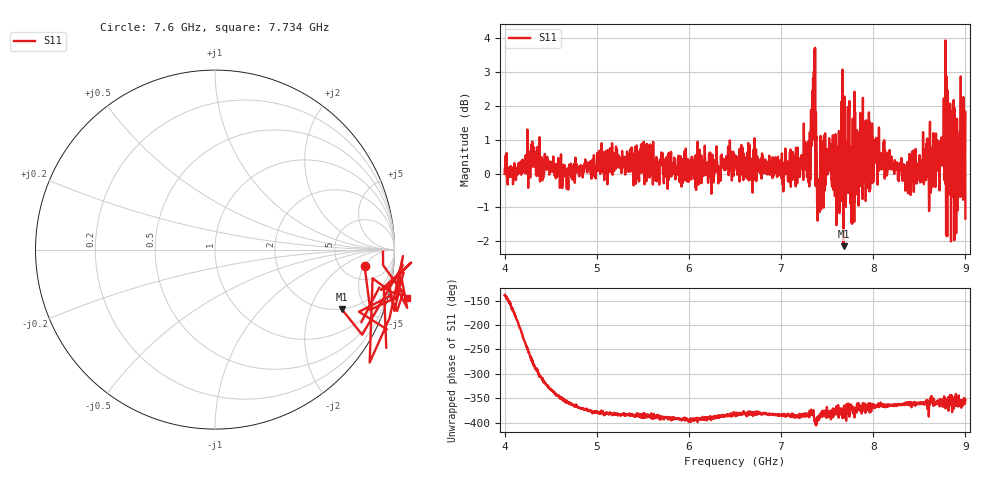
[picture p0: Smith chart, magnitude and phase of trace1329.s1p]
! Created with skrf 1.8.0 (http://scikit-rf.org).
# Hz S RI R 50.0
!freq ReS11 ImS11
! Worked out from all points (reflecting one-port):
!   1601 points, 4 GHz to 9 GHz, reference 50 ohm
!   lowest |S11| = -2.1 dB at 7.678 GHz (marker M1), VSWR 8.12, Z = 99.4 - j169 ohm
!   phase of S11 starts at -139 deg and turns -215 deg over the sweep
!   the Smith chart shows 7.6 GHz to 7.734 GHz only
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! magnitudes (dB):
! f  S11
! 4 GHz  0.0
! 4.312 GHz  0.3
! 4.625 GHz  -0.4
! 5.25 GHz  0.5
! 5.875 GHz  0.0
! 6.5 GHz  0.5
! 7.125 GHz  0.3
! 7.294 GHz  -0.2
! 7.347 GHz  2.8
! 7.362 GHz  3.7
! 7.397 GHz  -1.4
! 7.412 GHz  -0.4
! 7.538 GHz  0.7
! 7.619 GHz  0.8
! 7.65 GHz  0.3
! 7.678 GHz  -2.1
! 7.731 GHz  -0.5
! 7.75 GHz  -0.5
! 7.769 GHz  -1.4
! 7.822 GHz  -0.6
! 7.928 GHz  0.8
! 8.375 GHz  -0.2
! 8.566 GHz  0.6
! 8.622 GHz  -0.2
! 8.784 GHz  3.9
! 8.9 GHz  -1.8
! 8.972 GHz  1.3
! 9 GHz  -1.3
